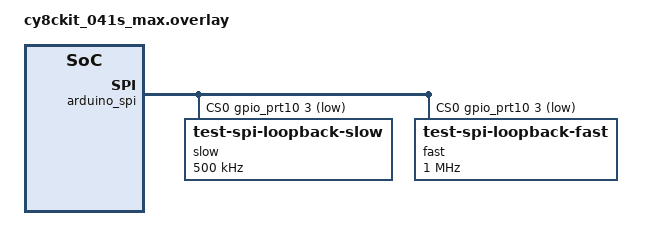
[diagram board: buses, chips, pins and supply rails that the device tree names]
/*
 * SPDX-FileCopyrightText: Copyright (c) 2026 Infineon Technologies AG,
 * SPDX-FileCopyrightText: or an affiliate of Infineon Technologies AG. All rights reserved.
 *
 * SPDX-License-Identifier: Apache-2.0
 */

/*
 * Jumper D11 (MOSI, P10.0) to D12 (MISO, P10.1), with no shield fitted:
 * chip select is on D10.
 */
&arduino_spi {
	cs-gpios = <&gpio_prt10 3 GPIO_ACTIVE_LOW>;
	status = "okay";

	slow@0 {
		compatible = "test-spi-loopback-slow";
		reg = <0>;
		spi-max-frequency = <500000>;
	};

	fast@0 {
		compatible = "test-spi-loopback-fast";
		reg = <0>;
		spi-max-frequency = <1000000>;
	};
};
